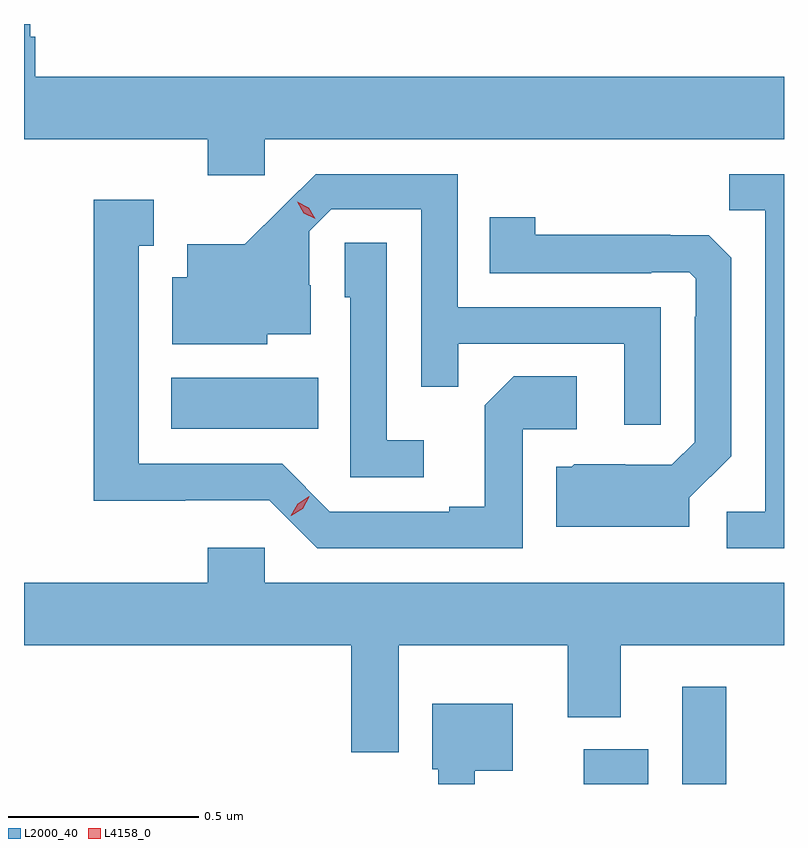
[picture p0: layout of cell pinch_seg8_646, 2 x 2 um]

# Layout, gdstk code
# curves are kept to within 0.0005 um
import gdstk
lib = gdstk.Library(unit=1e-6, precision=1e-09)
def R(c, l, rs):  # rectangles x0, y0, x1, y1
    for r in rs: c.add(gdstk.rectangle(r[:2], r[2:], *l))
def P(c, l, *ps):  # polygons
    for p in ps: c.add(gdstk.Polygon(p, *l))
L2000_40 = (2000, 40)
L4158_0 = (4158, 0)

pinch_seg8_646 = lib.new_cell('pinch_seg8_646')
R(pinch_seg8_646, L2000_40, [(197.285,1085.499,197.455,1085.59), (197.544,1085.499,197.66,1085.755), (196.199,1086.434,196.586,1086.568)])
P(pinch_seg8_646, L2000_40, [(196.446,1087.196),(197.812,1087.196),(197.812,1087.36),(195.842,1087.36),(195.842,1087.466),(195.829,1087.466),(195.829,1087.499),(195.812,1087.499),(195.812,1087.196),(196.295,1087.196),(196.295,1087.101),(196.446,1087.101)],
  [(197.812,1087.104),(197.668,1087.104),(197.668,1087.009),(197.763,1087.009),(197.763,1086.216),(197.661,1086.216),(197.661,1086.12),(197.812,1086.12)],
  [(197.487,1086.753),(196.953,1086.753),(196.953,1087.104),(196.58,1087.104),(196.393,1086.919),(196.241,1086.919),(196.241,1086.832),(196.202,1086.832),(196.202,1086.656),(196.452,1086.656),(196.452,1086.683),(196.567,1086.683),(196.567,1086.812),(196.563,1086.812),(196.563,1086.954),(196.62,1087.011),(196.857,1087.011),(196.857,1086.544),(196.955,1086.544),(196.955,1086.657),(197.391,1086.657),(197.391,1086.444),(197.487,1086.444)],
  [(197.124,1086.432),(197.266,1086.432),(197.266,1086.572),(197.101,1086.572),(197.025,1086.496),(197.025,1086.229),(196.931,1086.229),(196.931,1086.216),(196.617,1086.216),(196.491,1086.342),(196.114,1086.342),(196.114,1086.915),(196.153,1086.915),(196.153,1087.036),(195.996,1087.036),(195.996,1086.245),(196.236,1086.245),(196.236,1086.246),(196.458,1086.246),(196.584,1086.12),(197.124,1086.12)],
  [(197.563,1086.252),(197.673,1086.362),(197.673,1086.884),(197.614,1086.943),(197.513,1086.943),(197.513,1086.944),(197.157,1086.944),(197.157,1086.991),(197.038,1086.991),(197.038,1086.843),(197.462,1086.843),(197.462,1086.846),(197.562,1086.846),(197.58,1086.828),(197.58,1086.728),(197.577,1086.728),(197.577,1086.399),(197.517,1086.339),(197.394,1086.339),(197.394,1086.34),(197.26,1086.34),(197.254,1086.334),(197.213,1086.334),(197.213,1086.176),(197.563,1086.176)],
  [(196.864,1086.403),(196.767,1086.403),(196.767,1086.923),(196.656,1086.923),(196.656,1086.78),(196.671,1086.78),(196.671,1086.306),(196.864,1086.306)],
  [(196.798,1085.864),(197.243,1085.864),(197.243,1085.675),(197.383,1085.675),(197.383,1085.864),(197.812,1085.864),(197.812,1086.028),(196.446,1086.028),(196.446,1086.121),(196.295,1086.121),(196.295,1086.028),(195.812,1086.028),(195.812,1085.864),(196.673,1085.864),(196.673,1085.583),(196.798,1085.583)],
  [(196.998,1085.534),(197.098,1085.534),(197.098,1085.71),(196.886,1085.71),(196.886,1085.538),(196.902,1085.538),(196.902,1085.499),(196.998,1085.499)])
P(pinch_seg8_646, L4158_0, [(196.578,1086.986),(196.548,1087.001),(196.531,1087.031),(196.531,1087.031),(196.531,1087.031),(196.561,1087.016),(196.578,1086.986),(196.578,1086.986)],
  [(196.514,1086.205),(196.514,1086.205),(196.532,1086.237),(196.563,1086.256),(196.563,1086.256),(196.563,1086.255),(196.546,1086.223),(196.515,1086.205)])

lib.write_gds('pinch_seg8_646.gds')
